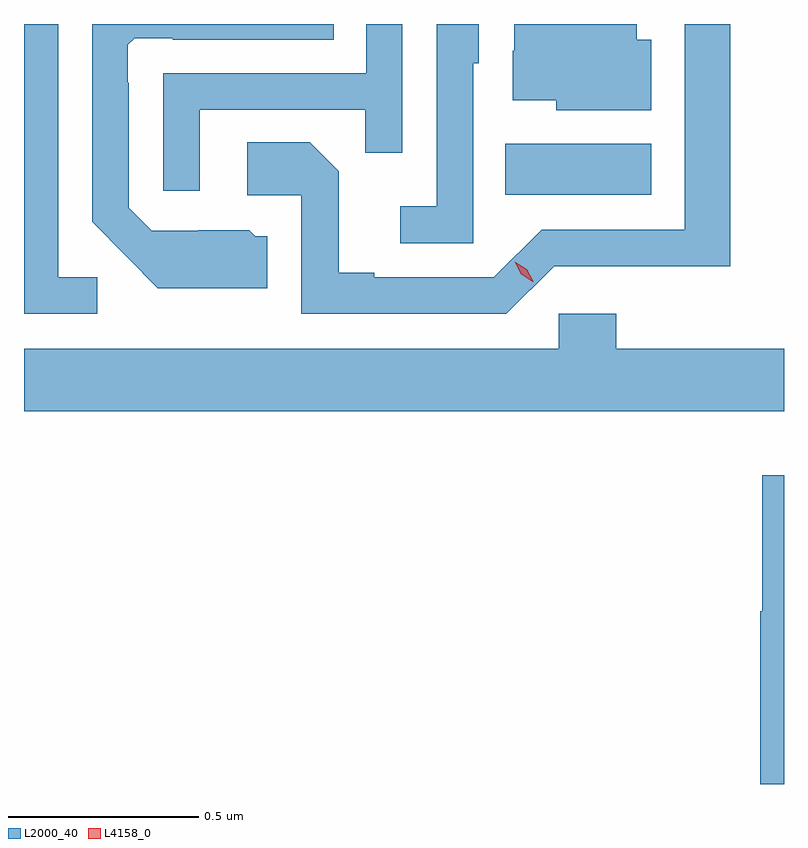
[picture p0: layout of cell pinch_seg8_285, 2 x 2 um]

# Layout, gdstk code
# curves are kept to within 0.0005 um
import gdstk
lib = gdstk.Library(unit=1e-6, precision=1e-09)
def R(c, l, rs):  # rectangles x0, y0, x1, y1
    for r in rs: c.add(gdstk.rectangle(r[:2], r[2:], *l))
def P(c, l, *ps):  # polygons
    for p in ps: c.add(gdstk.Polygon(p, *l))
L2000_40 = (2000, 40)
L4158_0 = (4158, 0)

pinch_seg8_285 = lib.new_cell('pinch_seg8_285')
R(pinch_seg8_285, L2000_40, [(529.42,1139.714,529.804,1139.848)])
P(pinch_seg8_285, L2000_40, [(528.615,1139.937),(529.051,1139.937),(529.051,1139.824),(529.149,1139.824),(529.149,1140.163),(529.053,1140.163),(529.053,1140.033),(528.519,1140.033),(528.519,1139.724),(528.615,1139.724)],
  [(529.804,1140.121),(529.765,1140.121),(529.765,1140.163),(529.443,1140.163),(529.443,1140.092),(529.439,1140.092),(529.439,1139.963),(529.554,1139.963),(529.554,1139.936),(529.804,1139.936)],
  [(528.346,1139.496),(528.243,1139.496),(528.243,1140.163),(528.153,1140.163),(528.153,1139.4),(528.346,1139.4)],
  [(529.335,1140.06),(529.35,1140.06),(529.35,1140.163),(529.239,1140.163),(529.239,1139.683),(529.143,1139.683),(529.143,1139.586),(529.335,1139.586)],
  [(529.548,1139.526),(529.77,1139.526),(529.77,1139.525),(530.011,1139.525),(530.011,1140.163),(529.892,1140.163),(529.892,1139.622),(529.515,1139.622),(529.389,1139.496),(529.075,1139.496),(529.075,1139.509),(528.981,1139.509),(528.981,1139.776),(528.905,1139.852),(528.741,1139.852),(528.741,1139.712),(528.882,1139.712),(528.882,1139.4),(529.422,1139.4)],
  [(528.793,1139.604),(528.762,1139.604),(528.746,1139.62),(528.612,1139.62),(528.612,1139.619),(528.489,1139.619),(528.429,1139.679),(528.429,1140.008),(528.426,1140.008),(528.426,1140.108),(528.444,1140.126),(528.544,1140.126),(528.544,1140.122),(528.968,1140.122),(528.968,1140.163),(528.333,1140.163),(528.333,1139.642),(528.505,1139.468),(528.793,1139.468)],
  [(530.153,1139.308),(529.712,1139.308),(529.712,1139.401),(529.56,1139.401),(529.56,1139.308),(528.153,1139.308),(528.153,1139.144),(530.153,1139.144)],
  [(530.153,1138.975),(530.096,1138.975),(530.096,1138.617),(530.09,1138.617),(530.09,1138.163),(530.153,1138.163)])
P(pinch_seg8_285, L4158_0, [(529.492,1139.485),(529.461,1139.505),(529.444,1139.538),(529.444,1139.538),(529.445,1139.538),(529.476,1139.518),(529.493,1139.486),(529.493,1139.485)])

lib.write_gds('pinch_seg8_285.gds')
